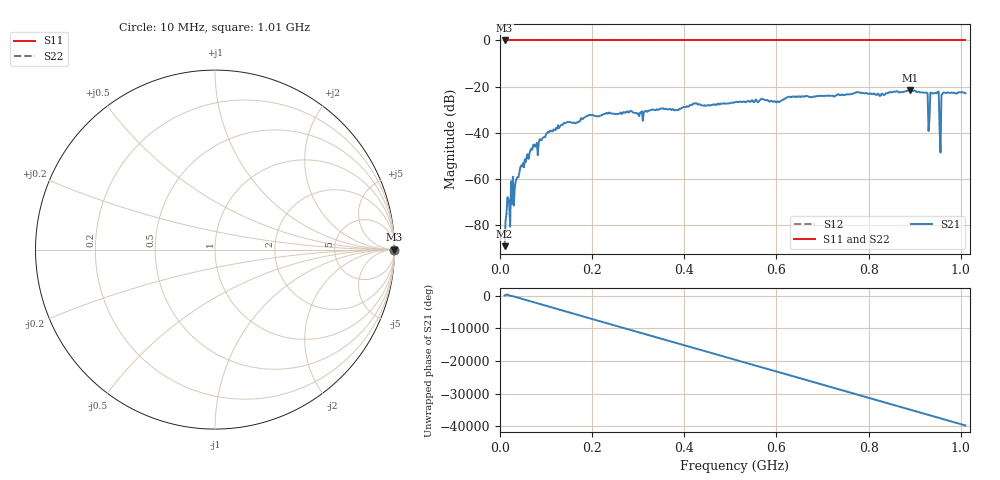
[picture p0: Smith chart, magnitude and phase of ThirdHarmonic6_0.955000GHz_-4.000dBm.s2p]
! 8/16/2025 6:58:34 AM
! C:\ANRITSUVNA\TEMP\TEMP.S2P
! CHANNEL.1
! TR.MEASUREMENT
! RAW.DATA
! RF.CORRECTION.OFF
! AVERAGING.OFF
! IF.BANDWIDTH: 5KHZ
! SWEEPTYPE:  FREQ.SWEEP(Linear)
! Reference Plane Port Info
! PORT:  PORT1  PORT2
! DISTANCE:  0  m  0  m
! TIME:  0  s  0  s
! PHASE.OFFSET:  0  deg.  0  deg.
! LOSS:  0  dB  0  dB
! REF.LOSS:  0  dB  0  dB
! REF.FREQ:  0  Hz  0  Hz
! Power Info
! POWER:  -20  dBm  -20  dBm
! EFF.POWER:  -20  dBm  -20  dBm
! SOURCE.ATTEN:  0  dB  0  dB
! TEST.ATTEN:  0  dB  0  dB
# GHZ S RI R 50.0
! FREQ.GHZ  S11RE  S11IM  S21RE  S21IM  S12RE  S12IM  S22RE  S22IM
!; PortSelection: Port_12
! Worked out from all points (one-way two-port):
!   501 points, 10 MHz to 1.01 GHz, reference 50 ohm
!   highest |S21| = -21.63 dB at 890 MHz (marker M1); lowest = -89.1 dB at 10 MHz (marker M2)
!   lowest |S11| = 0.0 dB at 10 MHz (marker M3)
!   |S11| at or under -10 dB: nowhere
!   |S22| runs from 0.0 to 0.0 dB; largest |S21 - S12| = 1.1
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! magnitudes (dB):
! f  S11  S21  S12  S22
! 10 MHz  0.0  -89.1  0.0  0.0
! 16 MHz  0.0  -67.9  0.0  0.0
! 26 MHz  0.0  -70.9  0.0  0.0
! 28 MHz  0.0  -59.1  0.0  0.0
! 46 MHz  0.0  -54.1  0.0  0.0
! 70 MHz  0.0  -47.3  0.0  0.0
! 106 MHz  0.0  -39.8  0.0  0.0
! 178 MHz  0.0  -34.1  0.0  0.0
! 344 MHz  0.0  -30.1  0.0  0.0
! 510 MHz  0.0  -26.7  0.0  0.0
! 678 MHz  0.0  -24.5  0.0  0.0
! 844 MHz  0.0  -22.6  0.0  0.0
! 890 MHz  0.0  -21.6  0.0  0.0
! 924 MHz  0.0  -22.6  0.0  0.0
! 928 MHz  0.0  -22.9  0.0  0.0
! 934 MHz  0.0  -22.6  0.0  0.0
! 938 MHz  0.0  -22.9  0.0  0.0
! 948 MHz  0.0  -22.8  0.0  0.0
! 952 MHz  0.0  -22.1  0.0  0.0
! 958 MHz  0.0  -23.7  0.0  0.0
! 962 MHz  0.0  -22.6  0.0  0.0
! 1.01 GHz  0.0  -22.9  0.0  0.0
